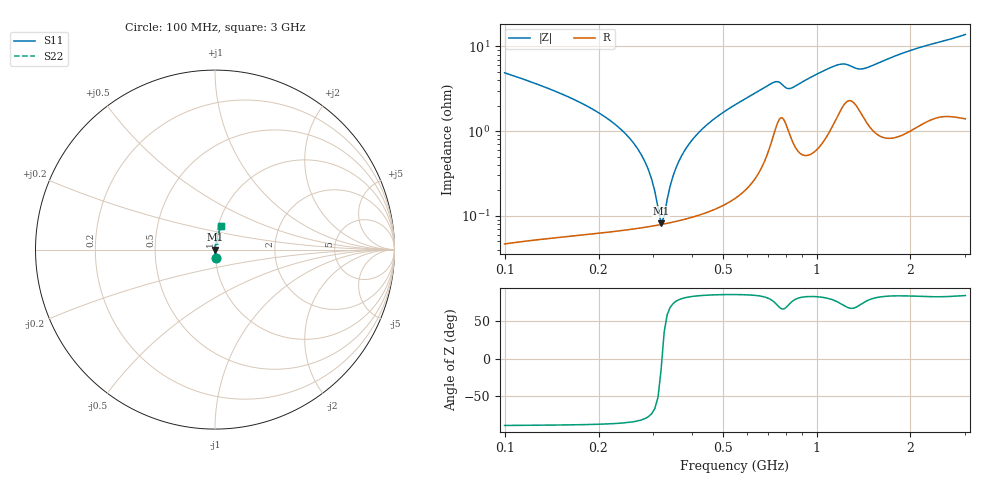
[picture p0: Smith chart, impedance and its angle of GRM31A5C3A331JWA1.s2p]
!Murata Part Number: GRM31A5C3A331JWA1
!These Parameters are Measured in Series Mode Connection
!Data Generated on Mar 30, 2021
!  o--ll--o
!Port1  Port2
!  o------o
!Operation Temp=25[degC], DC Bias Voltage=0[V]
!Freq. Start=100[MHz] Stop=3[GHz] 401[Steps]
# Hz S RI R 50
!Freq.(Hz) S11(Real) S11(Imag) S21(Real) S21(Imag) S12(Real) S12(Imag) S22(Real) S22(Imag)
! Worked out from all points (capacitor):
!   401 points, 100 MHz to 3 GHz, reference 50 ohm
!   read as one part in series: C = 294 pF near 114.5 MHz
!   lowest |Z| = 81.7 mohm at 317.5 MHz (marker M1)
!   series resonance near 319.4 MHz, so ESL is about 850 pH
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1e8  0.00284 -0.0487  0.9972 0.0487  0.9972 0.0487  0.00284 -0.0487
2.015e8  0.000888 -0.0162  0.9991 0.0162  0.9991 0.0162  0.000888 -0.0162
2.5225e8  0.000757 -0.00812  0.9992 0.00812  0.9992 0.00812  0.000757 -0.00812
2.8125e8  0.000751 -0.00436  0.9992 0.00436  0.9992 0.00436  0.000751 -0.00436
3.1025e8  0.000779 -0.000994  0.9992 0.000994  0.9992 0.000994  0.000779 -0.000994
3.175e8  0.000791 -0.000202  0.9992 0.000202  0.9992 0.000202  0.000791 -0.000202
3.2475e8  0.000804 0.000573  0.9992 -0.000573  0.9992 -0.000573  0.000804 0.000573
3.32e8  0.000819 0.00133  0.9992 -0.00133  0.9992 -0.00133  0.000819 0.00133
3.465e8  0.000852 0.00281  0.9991 -0.00281  0.9991 -0.00281  0.000852 0.00281
3.61e8  0.000892 0.00423  0.9991 -0.00423  0.9991 -0.00423  0.000892 0.00423
4.045e8  0.00104 0.00827  0.999 -0.00827  0.999 -0.00827  0.00104 0.00827
4.77e8  0.00142 0.0145  0.9986 -0.0145  0.9986 -0.0145  0.00142 0.0145
5.8575e8  0.0025 0.0235  0.9975 -0.0235  0.9975 -0.0235  0.0025 0.0235
7.3075e8  0.0106 0.0359  0.9894 -0.0359  0.9894 -0.0359  0.0106 0.0359
8.25e8  0.00948 0.0303  0.9905 -0.0303  0.9905 -0.0303  0.00948 0.0303
1.0715e9  0.0109 0.0514  0.9891 -0.0514  0.9891 -0.0514  0.0109 0.0514
1.19475e9  0.0206 0.0569  0.9794 -0.0569  0.9794 -0.0569  0.0206 0.0569
1.376e9  0.0194 0.0495  0.9806 -0.0495  0.9806 -0.0495  0.0194 0.0495
1.55e9  0.013 0.06  0.987 -0.06  0.987 -0.06  0.013 0.06
2.03575e9  0.0183 0.0884  0.9817 -0.0884  0.9817 -0.0884  0.0183 0.0884
2.5215e9  0.0267 0.109  0.9733 -0.109  0.9733 -0.109  0.0267 0.109
3e9  0.0316 0.1314  0.9684 -0.1314  0.9684 -0.1314  0.0316 0.1314
